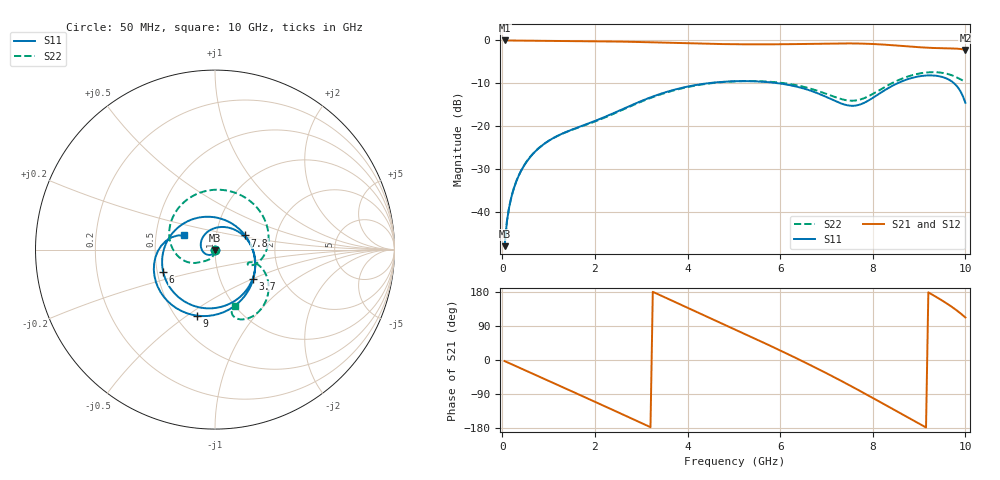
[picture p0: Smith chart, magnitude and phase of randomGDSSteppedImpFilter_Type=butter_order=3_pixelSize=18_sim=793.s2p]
! freq	dB(S11)	phase(S11)	dB(S12)	phase(S12)
!  dB(S21)	phase(S21)	dB(S22)	phase(S22)
!S-par simulation data
#  GHz  S  DB  R 50
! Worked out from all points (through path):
!   200 points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, 50 MHz to 10 GHz, reference 50 ohm
!   highest |S21| = -0.01 dB at 50 MHz (marker M1); lowest = -2.2 dB at 10 GHz (marker M2)
!   group delay of S21, straight-line fit = 164 ps
!   lowest |S11| = -48.0 dB at 50 MHz (marker M3), VSWR 1.01, Z = 50 - j0.399 ohm
!   |S11| at or under -10 dB: start of sweep to 4.432 GHz; 5.963 GHz to 8.532 GHz (2.57 GHz wide, 35.5 % of centre); 9.756 GHz to end of sweep
!   |S22| runs from -47.9 to -7.4 dB; largest |S21 - S12| = 0
!   S11 on the Smith chart (normalised r, x): 50 MHz: 1.00, -0.01; 3.7 GHz: 1.43, -0.50; 6 GHz: 0.54, -0.15; 7.8 GHz: 1.38, +0.23; 9 GHz: 0.64, -0.55; 10 GHz: 0.70, +0.11
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0.05  -47.99 -90.8  -0.01 -2.8  -0.01 -2.8  -47.86 -87.5
0.1  -42.20 -95.1  -0.01 -5.6  -0.01 -5.6  -42.15 -90.4
0.2  -36.38 -103.8  -0.02 -11.1  -0.02 -11.1  -36.32 -95.4
0.5  -28.70 -128.5  -0.04 -27.6  -0.04 -27.6  -28.64 -107.0
1.15  -22.49 177.8  -0.10 -63.3  -0.10 -63.3  -22.50 -126.5
1.75  -19.81 122.7  -0.16 -96.4  -0.16 -96.4  -19.91 -137.7
2.2  -17.91 79.3  -0.21 -121.3  -0.21 -121.3  -18.06 -144.1
2.65  -15.77 38.6  -0.29 -146.5  -0.29 -146.5  -15.93 -153.2
3.4  -12.52 -18.2  -0.49 171.5  -0.49 171.5  -12.65 -179.8
3.7  -11.54 -37.4  -0.58 154.8  -0.58 154.8  -11.67 166.2
4.4  -10.04 -77.0  -0.78 115.7  -0.78 115.7  -10.14 128.3
5.05  -9.51 -109.4  -0.89 79.4  -0.89 79.4  -9.53 88.6
5.5  -9.56 -131.2  -0.92 53.9  -0.92 53.9  -9.50 59.9
6  -10.05 -156.7  -0.89 25.2  -0.89 25.2  -9.86 28.6
6.7  -11.88 159.3  -0.79 -16.3  -0.79 -16.3  -11.38 -9.2
7.3  -14.63 99.5  -0.70 -53.9  -0.70 -53.9  -13.62 -24.7
7.8  -14.62 25.1  -0.75 -86.7  -0.75 -86.7  -13.53 -19.4
8.35  -11.03 -43.9  -1.06 -123.8  -1.06 -123.8  -10.34 -24.4
9  -8.38 -105.0  -1.58 -167.7  -1.58 -167.7  -7.73 -48.3
9.55  -8.69 -156.8  -1.83 152.9  -1.83 152.9  -7.65 -69.7
9.8  -10.46 175.8  -1.91 132.1  -1.91 132.1  -8.56 -75.2
10  -14.55 155.1  -2.23 112.2  -2.23 112.2  -9.57 -70.2
